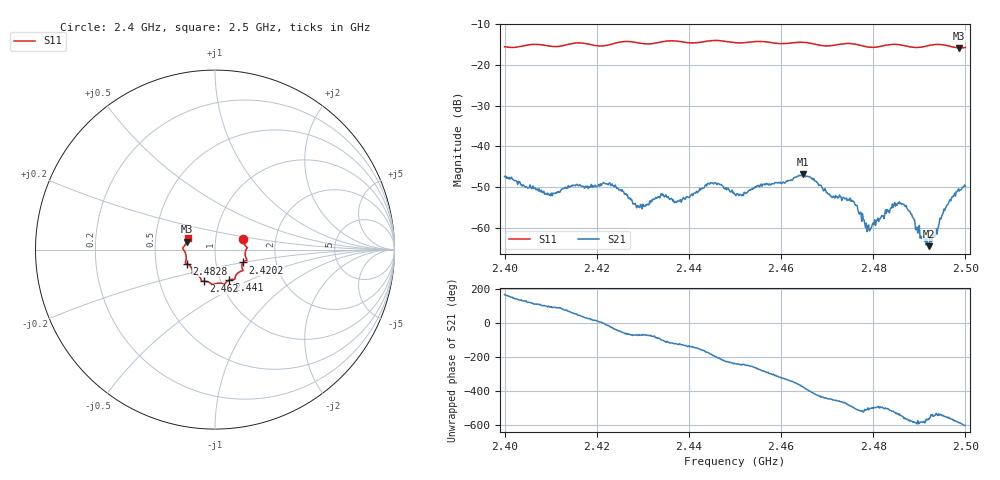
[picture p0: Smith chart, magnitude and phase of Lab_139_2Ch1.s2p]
# Hz S RI R 50
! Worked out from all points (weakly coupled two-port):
!   601 points, 2.4 GHz to 2.5 GHz, reference 50 ohm
!   highest |S21| = -46.89 dB at 2.4648 GHz (marker M1); lowest = -64.5 dB at 2.492 GHz (marker M2)
!   lowest |S11| = -15.8 dB at 2.4987 GHz (marker M3), VSWR 1.39, Z = 36.3 + j3.26 ohm
!   |S11| at or under -10 dB: start of sweep to end of sweep
!   S12 and S22 are empty: the file has one direction only
!   S11 on the Smith chart (normalised r, x): 2.4 GHz: 1.36, +0.17; 2.4202 GHz: 1.36, -0.20; 2.441 GHz: 1.10, -0.39; 2.462 GHz: 0.83, -0.30; 2.4828 GHz: 0.72, -0.12; 2.5 GHz: 0.73, +0.09
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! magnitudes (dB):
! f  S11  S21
! 2.4 GHz  -15.5  -47.3
! 2.4095 GHz  -15.3  -51.7
! 2.4167 GHz  -14.6  -49.8
! 2.4202 GHz  -15.3  -49.8
! 2.4237 GHz  -14.7  -49.7
! 2.429 GHz  -14.5  -54.6
! 2.4333 GHz  -14.5  -52.5
! 2.441 GHz  -14.6  -51.7
! 2.4452 GHz  -14.0  -49.0
! 2.45 GHz  -14.5  -51.8
! 2.462 GHz  -14.6  -48.3
! 2.4648 GHz  -14.4  -46.9
! 2.4667 GHz  -14.7  -47.9
! 2.4707 GHz  -15.2  -52.1
! 2.4755 GHz  -14.7  -53.5
! 2.4788 GHz  -15.5  -59.8
! 2.4828 GHz  -15.1  -56.5
! 2.4833 GHz  -15.0  -55.7
! 2.4868 GHz  -15.2  -54.6
! 2.492 GHz  -15.2  -64.5
! 2.4987 GHz  -15.8  -51.0
! 2.5 GHz  -15.7  -49.8
